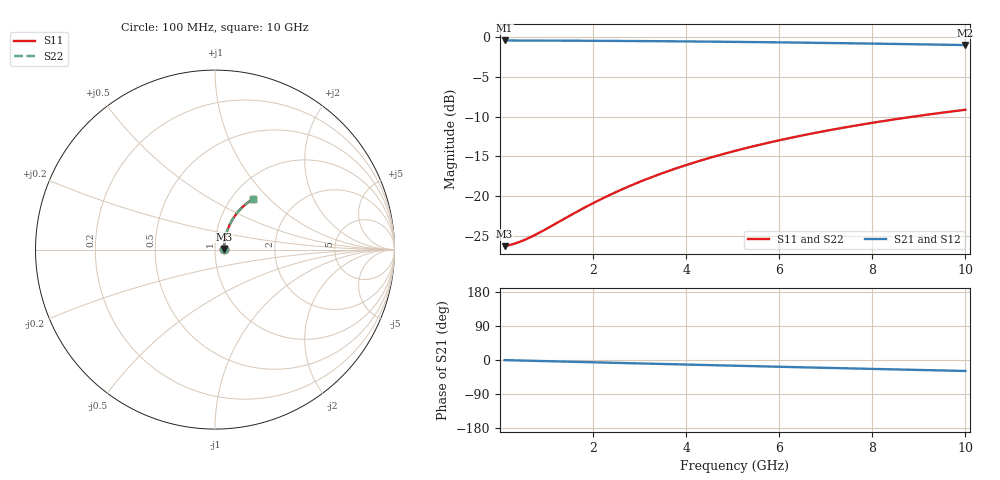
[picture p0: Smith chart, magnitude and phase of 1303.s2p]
# Hz S RI R 50.00
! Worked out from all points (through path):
!   100 points, 100 MHz to 10 GHz, reference 50 ohm
!   highest |S21| = -0.43 dB at 100 MHz (marker M1); lowest = -1.0 dB at 10 GHz (marker M2)
!   group delay of S21, straight-line fit = 8.06 ps
!   lowest |S11| = -26.3 dB at 100 MHz (marker M3), VSWR 1.10, Z = 55.1 + j0.39 ohm
!   |S11| at or under -10 dB: start of sweep to 8.876 GHz
!   |S22| runs from -26.3 to -9.1 dB; largest |S21 - S12| = 0
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1e8  0.0485 0.00353  0.9515 -0.00502  0.9515 -0.00502  0.0485 0.00353
3e8  0.0492 0.0106  0.9508 -0.0151  0.9508 -0.0151  0.0492 0.0106
4e8  0.0495 0.0141  0.9505 -0.0201  0.9505 -0.0201  0.0495 0.0141
5e8  0.0498 0.0176  0.9501 -0.0251  0.9501 -0.0251  0.0498 0.0176
7e8  0.0505 0.0246  0.9494 -0.0351  0.9494 -0.0351  0.0505 0.0246
1e9  0.0518 0.0351  0.9481 -0.05  0.9481 -0.05  0.0518 0.0351
1.8e9  0.0565 0.0627  0.9431 -0.0897  0.9431 -0.0897  0.0565 0.0627
2.2e9  0.0596 0.0763  0.9398 -0.1093  0.9398 -0.1093  0.0596 0.0763
2.6e9  0.0633 0.0897  0.9359 -0.1287  0.9359 -0.1287  0.0633 0.0897
3e9  0.0675 0.103  0.9314 -0.1479  0.9314 -0.1479  0.0675 0.103
3.4e9  0.0723 0.116  0.9264 -0.1669  0.9264 -0.1669  0.0723 0.116
3.8e9  0.0775 0.1287  0.9208 -0.1857  0.9208 -0.1857  0.0775 0.1287
4.2e9  0.0832 0.1412  0.9147 -0.2041  0.9147 -0.2041  0.0832 0.1412
4.6e9  0.0894 0.1533  0.9081 -0.2223  0.9081 -0.2223  0.0894 0.1533
5.1e9  0.0979 0.1681  0.8991 -0.2446  0.8991 -0.2446  0.0979 0.1681
5.5e9  0.1051 0.1795  0.8914 -0.2621  0.8914 -0.2621  0.1051 0.1795
5.9e9  0.1127 0.1905  0.8832 -0.2791  0.8832 -0.2791  0.1127 0.1905
6.7e9  0.1291 0.2115  0.8656 -0.3122  0.8656 -0.3122  0.1291 0.2115
7.5e9  0.1469 0.2308  0.8465 -0.3436  0.8465 -0.3436  0.1469 0.2308
8.4e9  0.1683 0.2504  0.8234 -0.3769  0.8234 -0.3769  0.1683 0.2504
9.2e9  0.1884 0.266  0.8016 -0.4047  0.8016 -0.4047  0.1884 0.266
1e10  0.2093 0.2798  0.7789 -0.4307  0.7789 -0.4307  0.2093 0.2798
